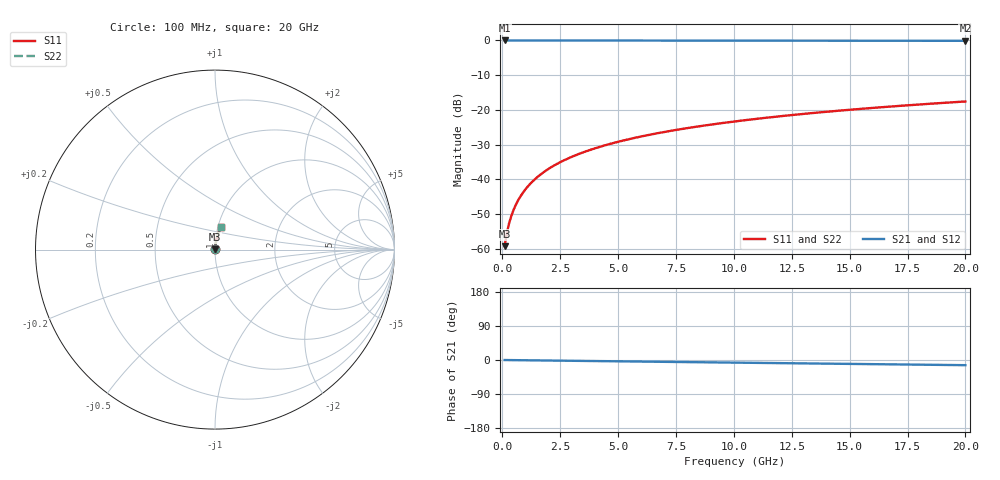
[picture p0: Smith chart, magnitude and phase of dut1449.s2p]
! Touchstone file exported from HFSS 2026.1.0
!  File:  C:/ffzhzh/LocalFiles/Ansys_Project_Files/temp_train_BSMRDL_1449_1783180701_43440.aedt
!  Generated:  11:59:41 PM Jul  4, 2026
!  Design:  BSMRDL
!  Project:  temp_train_BSMRDL_1449_1783180701_43440
! Variables:
!  h_bsmrdl = 4.77um
!  h_ox = 20um
!  h_rdl = 5um
!  h_sub = 80um
!  h_tmrdl = 5um
!  h_tsv = 80um
!  h_via = 3um
!  l_bsmrdl = 171.43um
!  l_sub = 571.43um
!  l_tmrdl = 200um
!  m_sub = 200um
!  pitch = 44.37um
!  r_tsv = 6um
!  s_tmrdl = 10um
!  w_bsmrdl = 20.74um
!  w_sub = 500um
!  w_tmrdl = 12um
!  x_tsv_center1 = 206um
!  x_tsv_center2 = 398.17um
!  x_tsv_center3 = 610.17um
!  x_tsv_center4 = 802.34um
!  x_tsv_center5 = 1014.34um
!  x_tsv_center6 = 1206.51um
# GHz S MA R 50.000000
! Terminal data exported
! Port[1] = BSM_RDL1_1_T1
! Port[2] = BSM_RDL1_1_T2
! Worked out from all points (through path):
!   200 points, 100 MHz to 20 GHz, reference 50 ohm
!   highest |S21| = -0.01 dB at 100 MHz (marker M1); lowest = -0.1 dB at 20 GHz (marker M2)
!   group delay of S21, straight-line fit = 1.89 ps
!   lowest |S11| = -59.3 dB at 100 MHz (marker M3), VSWR 1.00, Z = 50.1 + j0.0768 ohm
!   |S11| at or under -10 dB: start of sweep to end of sweep
!   |S22| runs from -59.3 to -17.6 dB; largest |S21 - S12| = 2.1e-15
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0.1  0.00109 44.7  0.9992 -0.1  0.9992 -0.1  0.00109 44.7
! Gamma 0 0 0 0
! Port Impedance 50 0 50 0
0.2  0.00171 61.3  0.9992 -0.1  0.9992 -0.1  0.00171 61.3
0.3  0.002371 68.6  0.9991 -0.2  0.9991 -0.2  0.002371 68.6
0.4  0.003043 72.8  0.9991 -0.3  0.9991 -0.3  0.003043 72.8
0.5  0.003722 75.6  0.9991 -0.4  0.9991 -0.4  0.003722 75.6
0.6  0.004406 77.5  0.9991 -0.4  0.9991 -0.4  0.004406 77.5
0.8  0.005787 80.0  0.999 -0.6  0.999 -0.6  0.005787 80.0
1.1  0.007875 82.0  0.999 -0.8  0.999 -0.8  0.007875 82.0
1.5  0.01067 83.3  0.9989 -1.1  0.9989 -1.1  0.01067 83.3
1.8  0.01276 83.8  0.9988 -1.3  0.9988 -1.3  0.01276 83.8
2.1  0.01485 84.0  0.9987 -1.5  0.9987 -1.5  0.01485 84.0
2.7  0.01901 84.2  0.9985 -1.9  0.9985 -1.9  0.01901 84.2
3.5  0.02451 84.1  0.9982 -2.5  0.9982 -2.5  0.02451 84.1
4.2  0.02928 83.8  0.9979 -2.9  0.9979 -2.9  0.02928 83.8
5  0.0347 83.5  0.9976 -3.5  0.9976 -3.5  0.0347 83.5
5.9  0.04074 83.0  0.9971 -4.1  0.9971 -4.1  0.04074 83.0
6.8  0.04675 82.5  0.9967 -4.7  0.9967 -4.7  0.04675 82.5
8.3  0.05669 81.7  0.9959 -5.8  0.9959 -5.8  0.05669 81.7
10.1  0.06854 80.7  0.9948 -7.0  0.9948 -7.0  0.06854 80.7
13.4  0.09003 78.7  0.9927 -9.2  0.9927 -9.2  0.09003 78.7
16.7  0.1112 76.7  0.9901 -11.4  0.9901 -11.4  0.1112 76.7
20  0.1321 74.6  0.9872 -13.6  0.9872 -13.6  0.1321 74.6
